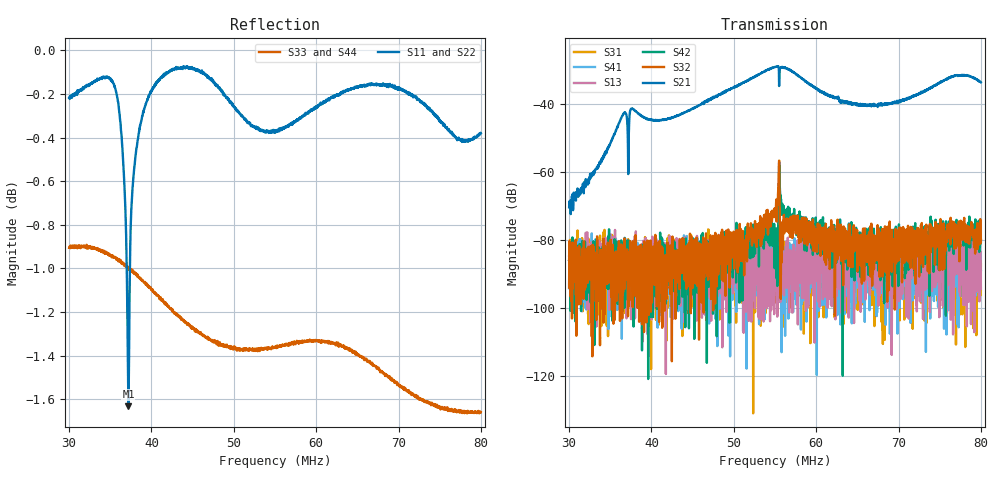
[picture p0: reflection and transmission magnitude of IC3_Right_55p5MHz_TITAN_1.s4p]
#  HZ  S  DB  R  50.00
! Rohde & Schwarz Vector Network Analyzer
! Rohde-Schwarz,ZNB8-4Port,1311601044102961,2.82
! Created: UTC 2/8/2019, 2:49:59 PM
! freq[Hz]  db:S11  ang:S11  db:S12  ang:S12  db:S13  ang:S13  db:S14  ang:S14
!  db:S21  ang:S21  db:S22  ang:S22  db:S23  ang:S23  db:S24  ang:S24
!  db:S31  ang:S31  db:S32  ang:S32  db:S33  ang:S33  db:S34  ang:S34
!  db:S41  ang:S41  db:S42  ang:S42  db:S43  ang:S43  db:S44  ang:S44
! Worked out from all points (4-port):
!   2001 points, 30 MHz to 80 MHz, reference 50 ohm
!   strongest paths, dB at 30 MHz, 42.5 MHz, 55 MHz, 67.5 MHz, 80 MHz:
!     S21: -70.4, -44.0, -29.2, -40.3, -33.7
!     S32: -94.0, -89.5, -70.8, -78.2, -79.7
!     S42: -85.9, -83.8, -78.4, -79.8, -80.5
!     S13: -84.6, -99.6, -92.5, -95.7, -94.4
!     S41: -94.1, -99.7, -88.9, -83.0, -89.1
!     S31: -85.7, -91.0, -97.4, -86.2, -87.2
!   lowest |S11| = -1.6 dB at 37.2 MHz (marker M1), VSWR 10.69, Z = 123 + j221 ohm
!   |S11| at or under -10 dB: nowhere
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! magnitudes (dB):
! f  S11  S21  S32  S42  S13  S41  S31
! 30 MHz  -0.2  -70.4  -94.0  -85.9  -84.6  -94.1  -85.7
! 37.2 MHz  -1.6  -59.9  -88.7  -80.2  -82.7  -88.7  -83.3
! 51.38 MHz  -0.3  -33.5  -83.1  -77.9  -81.4  -92.7  -84.1
! 55.1 MHz  -0.4  -29.1  -71.4  -77.2  -83.5  -91.0  -86.8
! 55.7 MHz  -0.4  -29.3  -97.3  -68.7  -87.9  -97.9  -79.5
! 61.88 MHz  -0.2  -37.7  -82.7  -78.2  -93.3  -85.5  -89.0
! 80 MHz  -0.4  -33.7  -79.7  -80.5  -94.4  -89.1  -87.2
